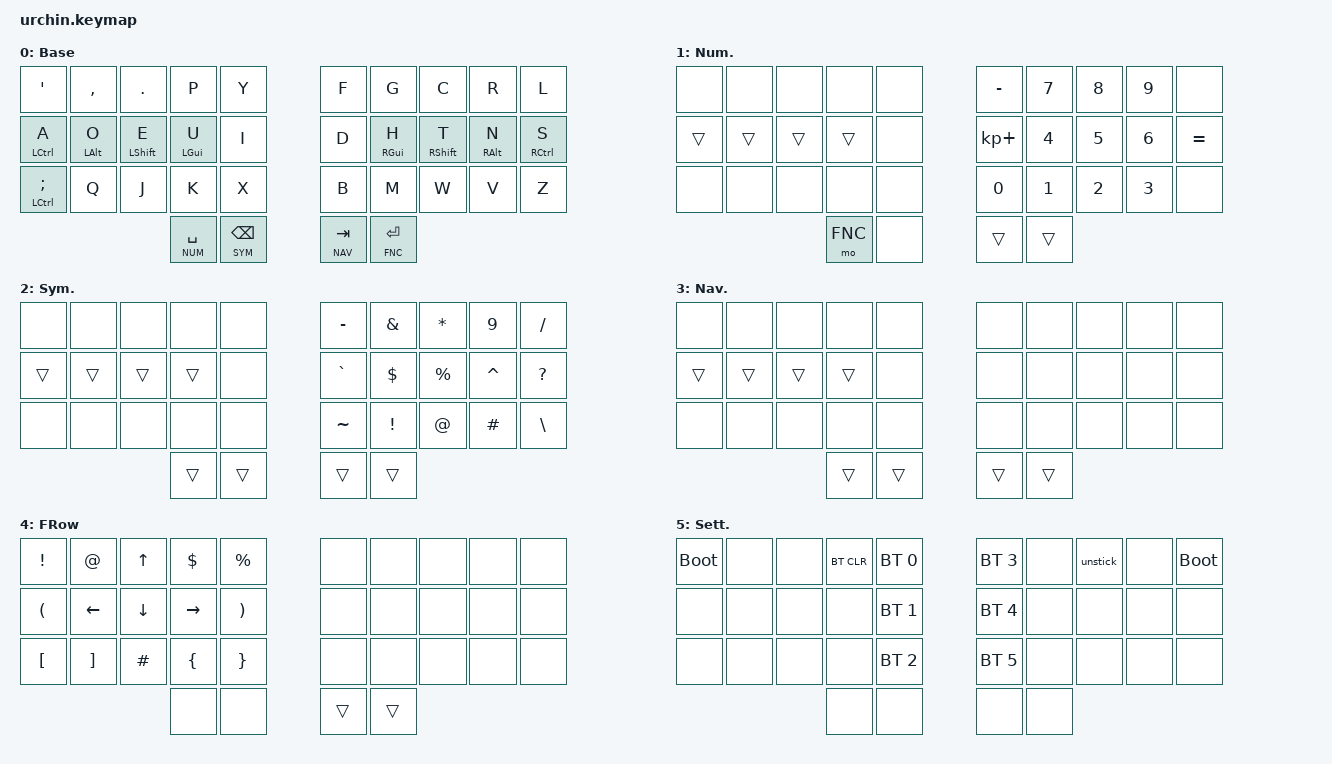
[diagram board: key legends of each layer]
/*
 * Copyright (c) 2020 duckyb
 *
 * SPDX-License-Identifier: MIT
 */

#include <behaviors.dtsi>
#include <dt-bindings/zmk/keys.h>
#include <dt-bindings/zmk/bt.h>
#include <dt-bindings/zmk/outputs.h>

#include "zmk-helpers/helper.h"
#include "zmk-helpers/key-labels/34.h"
#include <dt-bindings/zmk/keys.h>

#define QUICK_TAP_MS 75

// Layer definitions
#define BASE 0
#define NUM 1
#define SYM 2
#define NAV 3
#define FNC 4
#define SETTINGS 5

/* Homerow mods */

#define HM_TAPPING_TERM 300
#define HM_TAPPING_TERM_FAST 200
#define HM_PRIOR_IDLE 150

#define KEYS_L LT0 LT1 LT2 LT3 LT4 LM0 LM1 LM2 LM3 LM4 LB0 LB1 LB2 LB3 LB4  // left hand
#define KEYS_R RT0 RT1 RT2 RT3 RT4 RM0 RM1 RM2 RM3 RM4 RB0 RB1 RB2 RB3 RB4  // right hand
#define KEYS_T LH1 LH0 RH0 RH1                                          // thumbs on 34 keys

// -----------------

&sk {
	// don't release mods on other mods presses
	ignore-modifiers;
};


&mt { // mode-tap config
  flavor = "tap-preferred";
  tapping_term_ms = <200>;
  quick_tap_ms = <75>;
};

&lt {  // layer-tap config
    flavor = "balanced";
    tapping-term-ms = <200>;
    quick-tap-ms = <QUICK_TAP_MS>;
};

/ {
	behaviors {
    // Positional Homerow mods
    // Homerow mods that prevent accidental activations when rolling keys,
    // such as when typing `st` or `ne` on colemak-dh layouts or `as` on
    // qwerty.
    //
    // Works by only allowing a mod to activate within tapping-term if
    // it's on the opposite side of the keyboard or on the same side thumb
    // keys.

    // Further optimization using urob's timerless homerow mods method:
    // https://github.com/urob/zmk-config#timeless-homerow-mods
    hml: homerow_mods_left {
        compatible = "zmk,behavior-hold-tap";
        #binding-cells = <2>;
        bindings = <&kp>,  <&kp>;

        flavor = "balanced";
        tapping-term-ms = <HM_TAPPING_TERM>;
        quick-tap-ms = <175>;                // repeat on tap-into-hold
        require-prior-idle-ms = <HM_PRIOR_IDLE>;

        hold-trigger-key-positions = <KEYS_R KEYS_T>;
        hold-trigger-on-release;
    };

    hmr: homerow_mods_right {
        compatible = "zmk,behavior-hold-tap";
        #binding-cells = <2>;
        bindings = <&kp>, <&kp>;

        flavor = "balanced";
        tapping-term-ms = <HM_TAPPING_TERM>;
        quick-tap-ms = <175>;
        require-prior-idle-ms = <HM_PRIOR_IDLE>;

        hold-trigger-key-positions = <KEYS_L KEYS_T>;
        hold-trigger-on-release;
    };

		// Enables holding the first mod-tap key
		// by performing a tap-release-hold sequence.
		// To use it: "&qt KEYCODE1 KEYCODE2"
		qt: quick_tap {
			compatible = "zmk,behavior-hold-tap";
			label = "QUICK_TAP";
			#binding-cells = <2>;
			flavor = "hold-preferred";
			tapping-term-ms = <200>;
			quick-tap-ms = <200>;
			bindings = <&mo>, <&kp>;
			hold-trigger-key-positions = <KEYS_R KEYS_T>;
		};
	};

	macros {
		// sometimes my device thinks a modifier is being held down
		// pressing all modifiers fixes it.
		unstick: unstick {
			label = "ZM_unstick";
			compatible = "zmk,behavior-macro";
			#binding-cells = <0>;
			bindings = <&kp LSHIFT &kp RSHIFT &kp LCTRL &kp RCTRL &kp LALT &kp RALT &kp LGUI &kp RGUI>;
		};
	};

	combos {
		compatible = "zmk,combos";
		// both right thumb keys
    combo_esc {
			timeout-ms = <200>;
			key-positions = <32 33>;
			bindings = <&kp ESC>;
		};
		// internal-left & external-right thumb keys
		// both left thumb keys
		combo_settings {
			timeout-ms = <200>;
			key-positions = <30 31>;
			bindings = <&mo SETTINGS>;
		};
	};

	keymap {
		compatible = "zmk,keymap";
		// Base alpha layer
		default_layer {
			label = "Base";
			bindings = <
			&kp SQT         &kp COMMA       &kp DOT         &kp P       &kp Y                  &kp F &kp G  &kp C &kp R &kp L 
			&hml LCTRL A    &hml LALT O     &hml LSHIFT E   &hml LGUI U &kp I                  &kp D &hmr RGUI H  &hmr RSHIFT T &hmr RALT N &hmr RCTRL S
			&hml LCTRL SCLN &kp Q           &kp J           &kp K       &kp X                  &kp B &kp M  &kp W &kp V &kp Z
                                              &lt NUM SPC  &qt SYM BSPC         &lt NAV TAB &lt FNC RET
			>;
		};

		// Numbers and high frequency symbols
		num_layer {
			label = "Num.";
			bindings = <
			&none &none &none &none &none              &kp MINUS      &kp N7   &kp N8   &kp N9   &none
			&trans &trans &trans &trans &none          &kp KP_PLUS    &kp N4   &kp N5   &kp N6   &kp EQUAL
			&none &none &none &none &none              &kp N0   &kp N1   &kp N2   &kp N3   &none
												&mo FNC &none        &trans &trans
			>;
		};

    // Symbols  
		sym_layer {
			label = "Sym.";
			bindings = <
			&none &none &none &none &none              &kp MINUS    &kp AMPS   &kp STAR   &kp N9   &kp FSLH
			&trans &trans &trans &trans &none          &kp GRAVE    &kp DLLR   &kp PRCNT   &kp CARET   &kp QUESTION
			&none &none &none &none &none              &kp TILDE   &kp EXCL &kp AT &kp HASH   &kp BSLH
												&trans &trans           &trans &trans
			>;
		};

		// Main modifiers and arrow keys
		nav_layer {
			label = "Nav.";
			bindings = <
			&none &none &none &none &none   	         &none &none &none &none &none
			&trans &trans &trans &trans &none		    	 &none &none &none &none &none
			&none &none &none &none &none              &none &none &none &none &none
												&trans &trans            &trans &trans  
			>;
		};

		// Function keys with modifiers
		fnc_layer {
			label = "FRow";
			bindings = <
			&kp EXCL  &kp AT    &kp UP   &kp DLLR  &kp PRCNT          &none &none &none &none &none 
			&kp LPAR  &kp LEFT  &kp DOWN &kp RIGHT &kp RPAR           &none &none &none &none &none 
			&kp LBKT  &kp RBKT  &kp HASH &kp LBRC  &kp RBRC  			    &none &none &none &none &none 
							  &none &none                                    &trans &trans
			>;
		};


		// Used to change the keyboard's settings.
		settings_layer {
				label = "Sett.";
				bindings = <
				&bootloader &none &none &bt BT_CLR &bt BT_SEL 0               &bt BT_SEL 3 &none &unstick &none &bootloader 
				&none &none &none &none      &bt BT_SEL 1 						  &bt BT_SEL 4 &none &none &none &none
				&none &none &none &none      &bt BT_SEL 2               &bt BT_SEL 5 &none &none &none &none
										&none &none                         &none &none 
				>;
		};
	};
};

